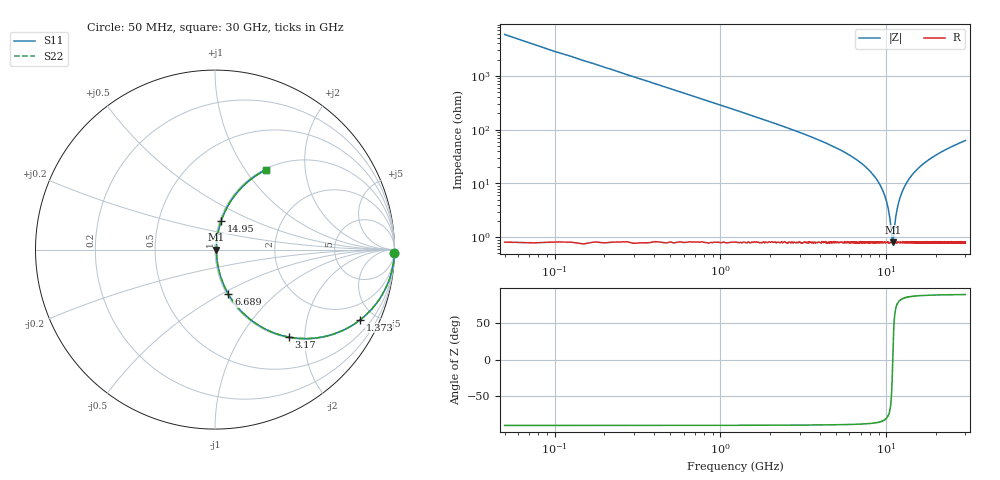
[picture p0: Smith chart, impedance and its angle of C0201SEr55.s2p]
!	AVX Thin Film Operation 	Date: April 2014
!	Description: Accu-P® Series, Thin Film  SMD RF Capacitor
!	Part Number: 02011JR55PBSTR
# MHZ S MA R 50
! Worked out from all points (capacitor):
!   1201 points, 50 MHz to 30 GHz, reference 50 ohm
!   read as one part in series: C = 550 fF near 199.8 MHz
!   lowest |Z| = 806 mohm at 10.93 GHz (marker M1)
!   series resonance near 10.94 GHz, so ESL is about 390 pH
!   S11 on the Smith chart (normalised r, x): 50 MHz: open; 1.373 GHz: 1.02, -4.15; 3.17 GHz: 1.02, -1.67; 6.689 GHz: 1.02, -0.54; 14.95 GHz: 1.02, +0.34; 30 GHz: 1.02, +1.26
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50  1 -1.0  0.017 89.0  0.017 89.0  1 -1.0
274.625  0.995 -5.4  0.095 84.5  0.095 84.5  0.995 -5.4
474.292  0.987 -9.3  0.162 80.6  0.162 80.6  0.987 -9.3
848.667  0.959 -16.4  0.283 73.4  0.283 73.4  0.959 -16.4
1372.792  0.899 -25.7  0.434 64.1  0.434 64.1  0.899 -25.7
2171.458  0.786 -37.9  0.614 51.8  0.614 51.8  0.786 -37.9
3169.792  0.638 -49.8  0.764 39.7  0.764 39.7  0.638 -49.8
5041.667  0.409 -64.8  0.905 24.2  0.905 24.2  0.409 -64.8
6688.917  0.26 -73.3  0.958 15.0  0.958 15.0  0.26 -73.3
8835.333  0.112 -79.5  0.986 6.4  0.986 6.4  0.112 -79.5
10058.29  0.045 -77.2  0.991 2.5  0.991 2.5  0.045 -77.2
10407.71  0.027 -71.5  0.992 1.5  0.992 1.5  0.027 -71.5
10931.83  0.007981 -1.9  0.992 0.0  0.992 0.0  0.007981 -1.9
11056.62  0.009802 35.2  0.992 -0.3  0.992 -0.3  0.009802 35.2
11580.75  0.031 73.4  0.992 -1.7  0.992 -1.7  0.031 73.4
12154.79  0.056 78.6  0.99 -3.2  0.99 -3.2  0.056 78.6
13327.83  0.104 79.7  0.987 -6.0  0.987 -6.0  0.104 79.7
14950.12  0.165 77.8  0.979 -9.5  0.979 -9.5  0.165 77.8
15025  0.167 77.7  0.978 -9.6  0.978 -9.6  0.167 77.7
20016.67  0.319 70.0  0.94 -18.6  0.94 -18.6  0.319 70.0
25033.29  0.437 63.1  0.892 -25.9  0.892 -25.9  0.437 63.1
30000  0.53 57.3  0.842 -32.0  0.842 -32.0  0.53 57.3
